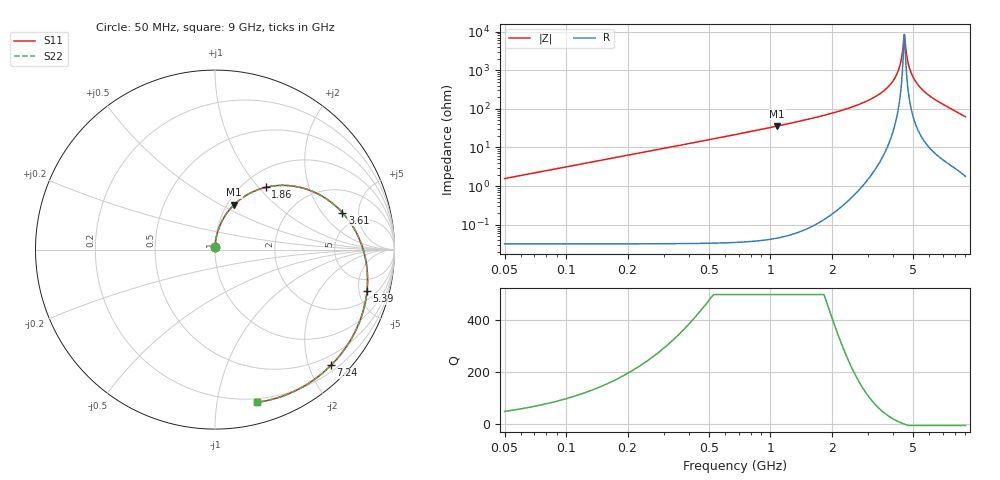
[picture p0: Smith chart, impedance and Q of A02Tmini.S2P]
! Coilcraft A02T_ Mini Spring Air Core Inductor
! 30 May 2003
# MHZ S MA R 50
!Freq  MagS11  AngS11  MagS21  AngS21  MagS12  AngS12  MagS22  AngS22
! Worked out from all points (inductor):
!   896 points, 50 MHz to 9 GHz, reference 50 ohm
!   read as 1/Y11, port 2 shorted: L = 5 nH near 90 MHz
!   highest Q = 792 at 1.08 GHz (marker M1), where L = 5.28 nH
!   self-resonance near 4.52 GHz
!   S11 on the Smith chart (normalised r, x): 50 MHz: 1.00, +0.03; 1.86 GHz: 1.26, +1.09; 3.61 GHz: 3.58, +3.26; 5.39 GHz: 3.02, -6.03; 7.24 GHz: 0.31, -2.39; 9 GHz: 0.17, -1.30
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50  0.01281 87.5  0.9996 -1.1  0.9996 -1.1  0.01282 87.5
120  0.03074 86.9  0.9992 -2.6  0.9992 -2.6  0.03075 86.9
180  0.0461 85.8  0.9986 -3.8  0.9986 -3.8  0.04611 85.8
260  0.06654 84.2  0.9975 -5.5  0.9975 -5.5  0.06656 84.2
360  0.09203 82.1  0.9954 -7.7  0.9954 -7.7  0.09206 82.1
490  0.125 79.4  0.9918 -10.4  0.9918 -10.4  0.125 79.4
660  0.1678 75.9  0.9855 -14.0  0.9855 -14.0  0.1678 75.9
850  0.215 71.9  0.9763 -18.1  0.9763 -18.1  0.215 71.9
1080  0.271 67.0  0.9622 -22.9  0.9622 -22.9  0.2711 67.0
1550  0.3804 57.2  0.9242 -32.7  0.9242 -32.7  0.3805 57.2
1860  0.448 50.8  0.8931 -39.1  0.8931 -39.1  0.4481 50.8
2440  0.5625 38.9  0.8246 -50.8  0.8246 -50.8  0.5627 38.9
3040  0.6625 27.1  0.7444 -62.5  0.7444 -62.5  0.6627 27.1
3610  0.7393 16.2  0.6648 -73.2  0.6648 -73.2  0.7395 16.2
4530  0.8278 -0.5  0.5417 -89.2  0.5417 -89.2  0.828 -0.5
5390  0.8775 -15.2  0.4452 -102.9  0.4452 -102.9  0.8777 -15.2
6020  0.8985 -25.5  0.3913 -112.2  0.3913 -112.2  0.8987 -25.5
6620  0.9093 -35.0  0.3554 -120.9  0.3554 -120.9  0.9095 -35.0
7240  0.9129 -44.9  0.3358 -129.9  0.3358 -129.9  0.9131 -44.9
7510  0.9123 -49.3  0.3332 -134.0  0.3332 -134.0  0.9125 -49.3
8300  0.9028 -62.3  0.3474 -146.5  0.3474 -146.5  0.9029 -62.3
9000  0.8825 -74.6  0.3887 -158.8  0.3887 -158.8  0.8826 -74.6
